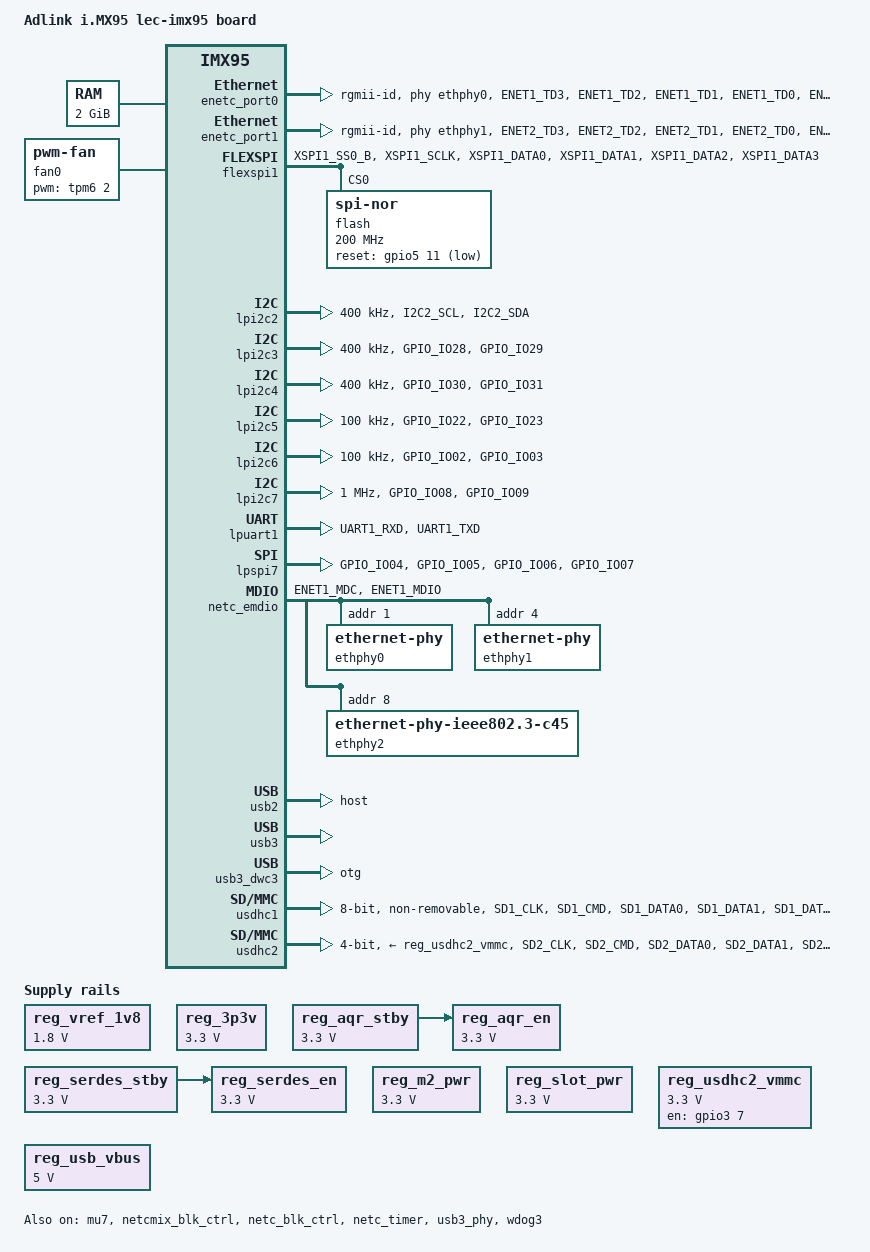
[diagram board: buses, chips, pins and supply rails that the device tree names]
// SPDX-License-Identifier: (GPL-2.0+ OR MIT)
/*
 * Copyright 2024 NXP
 */

/dts-v1/;

#include <dt-bindings/pwm/pwm.h>
#include <dt-bindings/usb/pd.h>
#include "../dts/upstream/src/arm64/freescale/imx95.dtsi"


#define FALLING_EDGE			1
#define RISING_EDGE			2

#define BRD_SM_CTRL_SD3_WAKE		0x8000	/* PCAL6408A-0 */
#define BRD_SM_CTRL_PCIE1_WAKE		0x8001	/* PCAL6408A-4 */
#define BRD_SM_CTRL_BT_WAKE		0x8002	/* PCAL6408A-5 */
#define BRD_SM_CTRL_PCIE2_WAKE		0x8003	/* PCAL6408A-6 */
#define BRD_SM_CTRL_BUTTON		0x8004	/* PCAL6408A-7 */

/ {
	model = "Adlink i.MX95 lec-imx95 board";
	compatible = "fsl,imx95-19x19-evk", "fsl,imx95", "adlink,lec-imx95";

	aliases {
		ethernet0 = &enetc_port0;
		gpio0 = &gpio1;
		gpio1 = &gpio2;
		gpio2 = &gpio3;
		gpio3 = &gpio4;
		gpio4 = &gpio5;
		i2c0 = &lpi2c1;
		i2c1 = &lpi2c2;
		i2c2 = &lpi2c3;
		i2c3 = &lpi2c4;
		i2c4 = &lpi2c5;
		i2c5 = &lpi2c6;
		i2c6 = &lpi2c7;
		i2c7 = &lpi2c8;
		mmc0 = &usdhc1;
		mmc1 = &usdhc2;
		serial0 = &lpuart1;
		serial4 = &lpuart5;
		ethernet1 = &enetc_port1;
                spi0 = &flexspi1;
                usb0 = &usb3_dwc3;
                usb1 = &usb2;
	};

	chosen {
		stdout-path = &lpuart1;
	};

	memory@80000000 {
		device_type = "memory";
		reg = <0x0 0x80000000 0 0x80000000>;
	};

	fan0: pwm-fan {
		compatible = "pwm-fan";
		#cooling-cells = <2>;
		pwms = <&tpm6 2 4000000 PWM_POLARITY_INVERTED>;
		cooling-levels = <64 128 192 255>;
	};

	reserved-memory {
		#address-cells = <2>;
		#size-cells = <2>;
		ranges;

		linux_cma: linux,cma {
			compatible = "shared-dma-pool";
			alloc-ranges = <0 0x80000000 0 0x7f000000>;
			size = <0 0x3c000000>;
			linux,cma-default;
			reusable;
		};
	};

	reg_vref_1v8: regulator-1p8v {
		compatible = "regulator-fixed";
		regulator-max-microvolt = <1800000>;
		regulator-min-microvolt = <1800000>;
		regulator-name = "+V1.8_SW";
	};

	reg_3p3v: regulator-3p3v {
		compatible = "regulator-fixed";
		regulator-max-microvolt = <3300000>;
		regulator-min-microvolt = <3300000>;
		regulator-name = "+V3.3_SW";
	};

	chosen {
		bootargs = "console=ttyLP0,115200 earlycon";
	};

	reg_aqr_stby: regulator-aqr-stby {
		compatible = "regulator-fixed";
		regulator-name = "aqr-stby";
		regulator-min-microvolt = <3300000>;
		regulator-max-microvolt = <3300000>;
		enable-active-high;
	};

	reg_aqr_en: regulator-aqr-en {
		compatible = "regulator-fixed";
		regulator-name = "aqr-en";
		regulator-min-microvolt = <3300000>;
		regulator-max-microvolt = <3300000>;
		vin-supply = <&reg_aqr_stby>;
		enable-active-high;
	};

	reg_serdes_stby: regulator-mac-stby {
		compatible = "regulator-fixed";
		regulator-name = "mac-stby";
		regulator-min-microvolt = <3300000>;
		regulator-max-microvolt = <3300000>;
		//gpio = <&i2c7_pcal6524 13 GPIO_ACTIVE_LOW>;
	};

	reg_serdes_en: regulator-mac-en {
		compatible = "regulator-fixed";
		regulator-name = "mac-en";
		regulator-min-microvolt = <3300000>;
		regulator-max-microvolt = <3300000>;
		vin-supply = <&reg_serdes_stby>;
//		gpio = <&i2c5_pcal6408 3 GPIO_ACTIVE_LOW>;
	};

	reg_m2_pwr: regulator-m2-pwr {
		compatible = "regulator-fixed";
		regulator-name = "M.2-power";
		regulator-min-microvolt = <3300000>;
		regulator-max-microvolt = <3300000>;
		enable-active-high;
		/*
		 * M.2 device only can be enabled(W_DISABLE1#) after all Power
		 * Rails reach their minimum operating voltage (PCI Express M.2
		 * Specification r5.1 3.1.4 Power-up Timing).
		 * Set a delay equal to the max value of Tsettle here.
		 */
		startup-delay-us = <5000>;
	};

	reg_slot_pwr: regulator-slot-pwr {
		compatible = "regulator-fixed";
		regulator-name = "PCIe slot-power";
		regulator-min-microvolt = <3300000>;
		regulator-max-microvolt = <3300000>;
		//gpio = <&i2c7_pcal6524 14 GPIO_ACTIVE_HIGH>;
		enable-active-high;
	};

	reg_usdhc2_vmmc: regulator-usdhc2 {
		compatible = "regulator-fixed";
		pinctrl-names = "default";
		pinctrl-0 = <&pinctrl_reg_usdhc2_vmmc>;
		regulator-name = "VDD_SD2_3V3";
		regulator-min-microvolt = <3300000>;
		regulator-max-microvolt = <3300000>;
		enable-active-high;
		gpio = <&gpio3 7 GPIO_ACTIVE_HIGH>;
		off-on-delay-us = <12000>;
	};

	reg_usb_vbus: regulator-vbus {
		compatible = "regulator-fixed";
		regulator-name = "USB_VBUS";
		regulator-min-microvolt = <5000000>;
		regulator-max-microvolt = <5000000>;
		enable-active-high;
	};

};

&enetc_port0 {
	pinctrl-names = "default";
	pinctrl-0 = <&pinctrl_enetc0>;
	phy-handle = <&ethphy0>;
	phy-mode = "rgmii-id";
	status = "okay";
};

&enetc_port1 {
 	pinctrl-names = "default";
 	pinctrl-0 = <&pinctrl_enetc1>;
 	phy-handle = <&ethphy1>;
 	phy-mode = "rgmii-id";
 	status = "okay";
};

&flexspi1 {
	pinctrl-names = "default";
	pinctrl-0 = <&pinctrl_flexspi1>;
	status = "okay";

	flash@0 {
		compatible = "jedec,spi-nor";
		reg = <0>;
		pinctrl-names = "default";
		pinctrl-0 = <&pinctrl_flexspi1_reset>;
		reset-gpios = <&gpio5 11 GPIO_ACTIVE_LOW>;
		#address-cells = <1>;
		#size-cells = <1>;
		spi-max-frequency = <200000000>;
		spi-tx-bus-width = <1>;
		spi-rx-bus-width = <1>;
	};
};

&lpi2c2 {
	clock-frequency = <400000>;
	pinctrl-names = "default";
	pinctrl-0 = <&pinctrl_lpi2c2>;
	status = "okay";
};

&lpi2c3 {
	clock-frequency = <400000>;
	pinctrl-names = "default";
	pinctrl-0 = <&pinctrl_lpi2c3>;
	status = "okay";
};

&lpi2c4 {
	clock-frequency = <400000>;
	pinctrl-names = "default";
	pinctrl-0 = <&pinctrl_lpi2c4>;
	status = "okay";

};

&lpi2c5 {
	clock-frequency = <100000>;
	pinctrl-names = "default";
	pinctrl-0 = <&pinctrl_lpi2c5>;
	status = "okay";

};

&lpi2c6 {
	clock-frequency = <100000>;
	pinctrl-names = "default";
	pinctrl-0 = <&pinctrl_lpi2c6>;
	status = "okay";
};

&lpi2c7 {
	clock-frequency = <1000000>;
	pinctrl-names = "default";
	pinctrl-0 = <&pinctrl_lpi2c7>;
	status = "okay";

};

&lpuart1 {
	/* console */
	pinctrl-names = "default";
	pinctrl-0 = <&pinctrl_uart1>;
	status = "okay";
};

&lpuart5 {
	pinctrl-names = "default";
	pinctrl-0 = <&pinctrl_uart5>;
	status = "disabled";
};

&lpspi7 {
	num-cs = <1>;
	pinctrl-names = "default";
	pinctrl-0 = <&pinctrl_lpspi7>;
	cs-gpios = <&gpio2 4 GPIO_ACTIVE_LOW>;
	status = "okay";
};

&mu7 {
	status = "okay";
};


&pcie0 {
    pinctrl-names = "default";
    pinctrl-0 = <&pinctrl_pcie0>;
    status = "disabled";
};

&enetc_port1 {
 	pinctrl-names = "default";
 	pinctrl-0 = <&pinctrl_enetc1>;
 	phy-handle = <&ethphy1>;
 	phy-mode = "rgmii-id";
 	status = "okay";
};

&netcmix_blk_ctrl {
	status = "okay";
};

&netc_blk_ctrl {
	status = "okay";
};

&netc_timer {
	status = "okay";
};


&netc_emdio {
	pinctrl-names = "default";
	pinctrl-0 = <&pinctrl_emdio>;
	status = "okay";

	ethphy0: ethernet-phy@1 {
		reg = <1>;
		eee-broken-1000t;
		reset-assert-us = <10000>;
		reset-deassert-us = <80000>;
	};

 	ethphy1: ethernet-phy@4 {
 		reg = <4>;
 		eee-broken-1000t;
 		reset-assert-us = <10000>;
 		reset-deassert-us = <80000>;
 	};

	ethphy2: ethernet-phy@8 {
		compatible = "ethernet-phy-ieee802.3-c45";
		reg = <8>;
	};
};

&usb2 {
	dr_mode = "host";
	disable-over-current;
	status = "okay";
};

&usb3 {
	status = "okay";
};

&usb3_dwc3 {
	dr_mode = "otg";
	hnp-disable;
	srp-disable;
	adp-disable;
	usb-role-switch;
	role-switch-default-mode = "peripheral";
	snps,dis-u1-entry-quirk;
	snps,dis-u2-entry-quirk;
	status = "okay";
};

&usb3_phy {
	fsl,phy-pcs-tx-deemph-3p5db-attenuation-db = <17>;
	fsl,phy-pcs-tx-swing-full-percent = <100>;
	fsl,phy-tx-preemp-amp-tune-microamp = <600>;
	fsl,phy-tx-vboost-level-microvolt = <1156>;
	fsl,phy-tx-vref-tune-percent = <100>;
	orientation-switch;
	status = "okay";
};

&usdhc1 {
	pinctrl-names = "default", "state_100mhz", "state_200mhz", "sleep";
	pinctrl-0 = <&pinctrl_usdhc1>;
	pinctrl-1 = <&pinctrl_usdhc1_100mhz>;
	pinctrl-2 = <&pinctrl_usdhc1_200mhz>;
	pinctrl-3 = <&pinctrl_usdhc1>;
	bus-width = <8>;
	non-removable;
	no-sdio;
	no-sd;
	status = "okay";
};

&usdhc2 {
	pinctrl-names = "default", "state_100mhz", "state_200mhz", "sleep";
	pinctrl-0 = <&pinctrl_usdhc2>, <&pinctrl_usdhc2_gpio>;
	pinctrl-1 = <&pinctrl_usdhc2_100mhz>, <&pinctrl_usdhc2_gpio>;
	pinctrl-2 = <&pinctrl_usdhc2_200mhz>, <&pinctrl_usdhc2_gpio>;
	pinctrl-3 = <&pinctrl_usdhc2>, <&pinctrl_usdhc2_gpio>;
	cd-gpios = <&gpio3 0 GPIO_ACTIVE_LOW>;
	vmmc-supply = <&reg_usdhc2_vmmc>;
	bus-width = <4>;
	status = "okay";
};

&scmi_misc {
	nxp,ctrl-ids = <BRD_SM_CTRL_SD3_WAKE	FALLING_EDGE
			BRD_SM_CTRL_PCIE1_WAKE	FALLING_EDGE
			BRD_SM_CTRL_BT_WAKE	FALLING_EDGE
			BRD_SM_CTRL_PCIE2_WAKE	FALLING_EDGE
			BRD_SM_CTRL_BUTTON	FALLING_EDGE>;
};

&wdog3 {
	fsl,ext-reset-output;
	status = "okay";
};

&scmi_iomuxc {
	pinctrl_emdio: emdiogrp {
		fsl,pins = <
			IMX95_PAD_ENET1_MDC__NETCMIX_TOP_NETC_MDC		0x50e
			IMX95_PAD_ENET1_MDIO__NETCMIX_TOP_NETC_MDIO		0x90e
		>;
	};

	pinctrl_enetc0: enetc0grp {
		fsl,pins = <
			IMX95_PAD_ENET1_TD3__NETCMIX_TOP_ETH0_RGMII_TD3		0x50e
			IMX95_PAD_ENET1_TD2__NETCMIX_TOP_ETH0_RGMII_TD2		0x50e
			IMX95_PAD_ENET1_TD1__NETCMIX_TOP_ETH0_RGMII_TD1		0x50e
			IMX95_PAD_ENET1_TD0__NETCMIX_TOP_ETH0_RGMII_TD0		0x50e
			IMX95_PAD_ENET1_TX_CTL__NETCMIX_TOP_ETH0_RGMII_TX_CTL	0x57e
			IMX95_PAD_ENET1_TXC__NETCMIX_TOP_ETH0_RGMII_TX_CLK	0x58e
			IMX95_PAD_ENET1_RX_CTL__NETCMIX_TOP_ETH0_RGMII_RX_CTL	0x57e
			IMX95_PAD_ENET1_RXC__NETCMIX_TOP_ETH0_RGMII_RX_CLK	0x58e
			IMX95_PAD_ENET1_RD0__NETCMIX_TOP_ETH0_RGMII_RD0		0x57e
			IMX95_PAD_ENET1_RD1__NETCMIX_TOP_ETH0_RGMII_RD1		0x57e
			IMX95_PAD_ENET1_RD2__NETCMIX_TOP_ETH0_RGMII_RD2		0x57e
			IMX95_PAD_ENET1_RD3__NETCMIX_TOP_ETH0_RGMII_RD3		0x57e
		>;
	};

	pinctrl_enetc1: enetc1grp {
		fsl,pins = <
			IMX95_PAD_ENET2_TD3__NETCMIX_TOP_ETH1_RGMII_TD3		0x57e
			IMX95_PAD_ENET2_TD2__NETCMIX_TOP_ETH1_RGMII_TD2		0x57e
			IMX95_PAD_ENET2_TD1__NETCMIX_TOP_ETH1_RGMII_TD1		0x57e
			IMX95_PAD_ENET2_TD0__NETCMIX_TOP_ETH1_RGMII_TD0		0x57e
			IMX95_PAD_ENET2_TX_CTL__NETCMIX_TOP_ETH1_RGMII_TX_CTL	0x57e
			IMX95_PAD_ENET2_TXC__NETCMIX_TOP_ETH1_RGMII_TX_CLK	0x5fe
			IMX95_PAD_ENET2_RX_CTL__NETCMIX_TOP_ETH1_RGMII_RX_CTL	0x57e
			IMX95_PAD_ENET2_RXC__NETCMIX_TOP_ETH1_RGMII_RX_CLK	0x5fe
			IMX95_PAD_ENET2_RD0__NETCMIX_TOP_ETH1_RGMII_RD0		0x57e
			IMX95_PAD_ENET2_RD1__NETCMIX_TOP_ETH1_RGMII_RD1		0x57e
			IMX95_PAD_ENET2_RD2__NETCMIX_TOP_ETH1_RGMII_RD2		0x57e
			IMX95_PAD_ENET2_RD3__NETCMIX_TOP_ETH1_RGMII_RD3		0x57e
		>;
	};

	pinctrl_flexcan1: flexcan1grp {
		fsl,pins = <
			IMX95_PAD_PDM_CLK__AONMIX_TOP_CAN1_TX			0x39e
			IMX95_PAD_PDM_BIT_STREAM0__AONMIX_TOP_CAN1_RX		0x39e
		>;
	};

	pinctrl_flexcan2: flexcan2grp {
		fsl,pins = <
			IMX95_PAD_GPIO_IO25__CAN2_TX				0x39e
			IMX95_PAD_GPIO_IO27__CAN2_RX				0x39e
		>;
	};

	pinctrl_flexspi1: flexspi1grp {
		fsl,pins = <
			IMX95_PAD_XSPI1_SS0_B__FLEXSPI1_A_SS0_B			0x3fe
			//IMX95_PAD_XSPI1_SS1_B__GPIO5_IO_BIT11			0x3fe
			IMX95_PAD_XSPI1_SCLK__FLEXSPI1_A_SCLK			0x3fe
			//IMX95_PAD_XSPI1_DQS__FLEXSPI1_A_DQS			0x3fe
			IMX95_PAD_XSPI1_DATA0__FLEXSPI1_A_DATA_BIT0		0x3fe
			IMX95_PAD_XSPI1_DATA1__FLEXSPI1_A_DATA_BIT1		0x3fe
			IMX95_PAD_XSPI1_DATA2__FLEXSPI1_A_DATA_BIT2		0x3fe
			IMX95_PAD_XSPI1_DATA3__FLEXSPI1_A_DATA_BIT3		0x3fe
			//IMX95_PAD_XSPI1_DATA4__FLEXSPI1_A_DATA_BIT4		0x3fe
			//IMX95_PAD_XSPI1_DATA5__FLEXSPI1_A_DATA_BIT5		0x3fe
			//IMX95_PAD_XSPI1_DATA6__FLEXSPI1_A_DATA_BIT6		0x3fe
			//IMX95_PAD_XSPI1_DATA7__FLEXSPI1_A_DATA_BIT7		0x3fe
		>;
	};

	pinctrl_flexspi1_reset: flexspi1-reset-grp {
		fsl,pins = <
			IMX95_PAD_XSPI1_SS1_B__GPIO5_IO_BIT11			0x3fe
		>;
	};

	pinctrl_hp: hpgrp {
		fsl,pins = <
			IMX95_PAD_GPIO_IO11__GPIO2_IO_BIT11		0x31e
		>;
	};

	pinctrl_i2c4_pcal6408: i2c4pcal6498grp {
		fsl,pins = <
			IMX95_PAD_GPIO_IO18__GPIO2_IO_BIT18			0x31e
		>;
	};

	pinctrl_i2c7_pcal6524: i2c7pcal6524grp {
		fsl,pins = <
			IMX95_PAD_GPIO_IO36__GPIO5_IO_BIT16			0x31e
		>;
	};

	pinctrl_lpi2c1: lpi2c1grp {
		fsl,pins = <
			IMX95_PAD_I2C1_SCL__AONMIX_TOP_LPI2C1_SCL		0x40000b9e
			IMX95_PAD_I2C1_SDA__AONMIX_TOP_LPI2C1_SDA		0x40000b9e
		>;
	};

	pinctrl_lpi2c2: lpi2c2grp {
		fsl,pins = <
			IMX95_PAD_I2C2_SCL__AONMIX_TOP_LPI2C2_SCL		0x40000b9e
			IMX95_PAD_I2C2_SDA__AONMIX_TOP_LPI2C2_SDA		0x40000b9e
		>;
	};

	pinctrl_lpi2c3: lpi2c3grp {
		fsl,pins = <
			IMX95_PAD_GPIO_IO28__LPI2C3_SDA			0x40000b9e
			IMX95_PAD_GPIO_IO29__LPI2C3_SCL			0x40000b9e
		>;
	};

	pinctrl_lpi2c4: lpi2c4grp {
		fsl,pins = <
			IMX95_PAD_GPIO_IO30__LPI2C4_SDA			0x40000b9e
			IMX95_PAD_GPIO_IO31__LPI2C4_SCL			0x40000b9e
		>;
	};

	pinctrl_lpi2c5: lpi2c5grp {
		fsl,pins = <
			IMX95_PAD_GPIO_IO22__LPI2C5_SDA			0x40000b9e
			IMX95_PAD_GPIO_IO23__LPI2C5_SCL			0x40000b9e
		>;
	};

	pinctrl_lpi2c6: lpi2c6grp {
		fsl,pins = <
			IMX95_PAD_GPIO_IO02__LPI2C6_SDA			0x40000b9e
			IMX95_PAD_GPIO_IO03__LPI2C6_SCL			0x40000b9e
		>;
	};

	pinctrl_lpi2c7: lpi2c7grp {
		fsl,pins = <
			IMX95_PAD_GPIO_IO08__LPI2C7_SDA			0x40000b9e
			IMX95_PAD_GPIO_IO09__LPI2C7_SCL			0x40000b9e
		>;
	};

	pinctrl_lpspi7: lpspi7grp {
		fsl,pins = <
			IMX95_PAD_GPIO_IO04__GPIO2_IO_BIT4		0x3fe
			IMX95_PAD_GPIO_IO05__LPSPI7_SIN			0x3fe
			IMX95_PAD_GPIO_IO06__LPSPI7_SOUT		0x3fe
			IMX95_PAD_GPIO_IO07__LPSPI7_SCK			0x3fe
		>;
	};

	pinctrl_pcie0: pcie0grp {
		fsl,pins = <
			IMX95_PAD_GPIO_IO32__HSIOMIX_TOP_PCIE1_CLKREQ_B		0x4000031e
		>;
	};

	pinctrl_pcie1: pcie1grp {
		fsl,pins = <
			IMX95_PAD_GPIO_IO35__HSIOMIX_TOP_PCIE2_CLKREQ_B		0x4000031e
		>;
	};

	pinctrl_pcal6416: pcal6416grp {
		fsl,pins = <
			IMX95_PAD_CCM_CLKO3__GPIO4_IO_BIT28			0x31e
		>;
	};

	pinctrl_pdm: pdmgrp {
		fsl,pins = <
			IMX95_PAD_PDM_CLK__AONMIX_TOP_PDM_CLK				0x31e
			IMX95_PAD_PDM_BIT_STREAM0__AONMIX_TOP_PDM_BIT_STREAM_BIT0	0x31e
		>;
	};

	pinctrl_sai1: sai1grp {
		fsl,pins = <
			IMX95_PAD_SAI1_RXD0__AONMIX_TOP_SAI1_RX_DATA_BIT0    0x31e
			IMX95_PAD_SAI1_TXC__AONMIX_TOP_SAI1_TX_BCLK      0x31e
			IMX95_PAD_SAI1_TXFS__AONMIX_TOP_SAI1_TX_SYNC     0x31e
			IMX95_PAD_SAI1_TXD0__AONMIX_TOP_SAI1_TX_DATA_BIT0    0x31e
		>;
	};

	pinctrl_sai2: sai2grp {
		fsl,pins = <
			IMX95_PAD_ENET2_MDIO__NETCMIX_TOP_SAI2_RX_BCLK			0x31e
			IMX95_PAD_ENET2_MDC__NETCMIX_TOP_SAI2_RX_SYNC			0x31e
			IMX95_PAD_ENET2_TD3__NETCMIX_TOP_SAI2_RX_DATA_BIT0		0x31e
			IMX95_PAD_ENET2_TD2__NETCMIX_TOP_SAI2_RX_DATA_BIT1		0x31e
			IMX95_PAD_ENET2_TXC__NETCMIX_TOP_SAI2_TX_BCLK			0x31e
			IMX95_PAD_ENET2_TX_CTL__NETCMIX_TOP_SAI2_TX_SYNC		0x31e
			IMX95_PAD_ENET2_RX_CTL__NETCMIX_TOP_SAI2_TX_DATA_BIT0		0x31e
			IMX95_PAD_ENET2_RXC__NETCMIX_TOP_SAI2_TX_DATA_BIT1		0x31e
			IMX95_PAD_ENET2_RD0__NETCMIX_TOP_SAI2_TX_DATA_BIT2		0x31e
			IMX95_PAD_ENET2_RD1__NETCMIX_TOP_SAI2_TX_DATA_BIT3		0x31e
			IMX95_PAD_ENET2_RD2__NETCMIX_TOP_SAI2_MCLK			0x31e
		>;
	};

	pinctrl_sai3: sai3grp {
		fsl,pins = <
			IMX95_PAD_GPIO_IO17__SAI3_MCLK				0x31e
			IMX95_PAD_GPIO_IO16__SAI3_TX_BCLK			0x31e
			IMX95_PAD_GPIO_IO26__SAI3_TX_SYNC			0x31e
			IMX95_PAD_GPIO_IO20__SAI3_RX_DATA_BIT0			0x31e
			IMX95_PAD_GPIO_IO21__SAI3_TX_DATA_BIT0			0x31e
		>;
	};

	pinctrl_tpm3: tpm3grp {
		fsl,pins = <
			IMX95_PAD_GPIO_IO12__TPM3_CH2			0x51e
		>;
	};

	pinctrl_tpm6: tpm6grp {
		fsl,pins = <
			IMX95_PAD_GPIO_IO19__TPM6_CH2			0x51e
		>;
	};

	pinctrl_uart1: uart1grp {
		fsl,pins = <
			IMX95_PAD_UART1_RXD__AONMIX_TOP_LPUART1_RX      0x31e
			IMX95_PAD_UART1_TXD__AONMIX_TOP_LPUART1_TX      0x31e
		>;
	};

	pinctrl_uart5: uart5grp {
		fsl,pins = <
			IMX95_PAD_DAP_TDO_TRACESWO__LPUART5_TX		0x31e
			IMX95_PAD_DAP_TDI__LPUART5_RX			0x31e
			IMX95_PAD_DAP_TMS_SWDIO__LPUART5_RTS_B		0x31e
			IMX95_PAD_DAP_TCLK_SWCLK__LPUART5_CTS_B		0x31e
		>;
	};

	pinctrl_usdhc1: usdhc1grp {
		fsl,pins = <
			IMX95_PAD_SD1_CLK__USDHC1_CLK			0x158e
			IMX95_PAD_SD1_CMD__USDHC1_CMD			0x138e
			IMX95_PAD_SD1_DATA0__USDHC1_DATA0		0x138e
			IMX95_PAD_SD1_DATA1__USDHC1_DATA1		0x138e
			IMX95_PAD_SD1_DATA2__USDHC1_DATA2		0x138e
			IMX95_PAD_SD1_DATA3__USDHC1_DATA3		0x138e
			IMX95_PAD_SD1_DATA4__USDHC1_DATA4		0x138e
			IMX95_PAD_SD1_DATA5__USDHC1_DATA5		0x138e
			IMX95_PAD_SD1_DATA6__USDHC1_DATA6		0x138e
			IMX95_PAD_SD1_DATA7__USDHC1_DATA7		0x138e
			IMX95_PAD_SD1_STROBE__USDHC1_STROBE		0x158e
		>;
	};

	pinctrl_usdhc1_100mhz: usdhc1-100mhzgrp {
		fsl,pins = <
			IMX95_PAD_SD1_CLK__USDHC1_CLK			0x158e
			IMX95_PAD_SD1_CMD__USDHC1_CMD			0x138e
			IMX95_PAD_SD1_DATA0__USDHC1_DATA0		0x138e
			IMX95_PAD_SD1_DATA1__USDHC1_DATA1		0x138e
			IMX95_PAD_SD1_DATA2__USDHC1_DATA2		0x138e
			IMX95_PAD_SD1_DATA3__USDHC1_DATA3		0x138e
			IMX95_PAD_SD1_DATA4__USDHC1_DATA4		0x138e
			IMX95_PAD_SD1_DATA5__USDHC1_DATA5		0x138e
			IMX95_PAD_SD1_DATA6__USDHC1_DATA6		0x138e
			IMX95_PAD_SD1_DATA7__USDHC1_DATA7		0x138e
			IMX95_PAD_SD1_STROBE__USDHC1_STROBE		0x158e
		>;
	};

	pinctrl_usdhc1_200mhz: usdhc1-200mhzgrp {
		fsl,pins = <
			IMX95_PAD_SD1_CLK__USDHC1_CLK			0x15fe
			IMX95_PAD_SD1_CMD__USDHC1_CMD			0x13fe
			IMX95_PAD_SD1_DATA0__USDHC1_DATA0		0x13fe
			IMX95_PAD_SD1_DATA1__USDHC1_DATA1		0x13fe
			IMX95_PAD_SD1_DATA2__USDHC1_DATA2		0x13fe
			IMX95_PAD_SD1_DATA3__USDHC1_DATA3		0x13fe
			IMX95_PAD_SD1_DATA4__USDHC1_DATA4		0x13fe
			IMX95_PAD_SD1_DATA5__USDHC1_DATA5		0x13fe
			IMX95_PAD_SD1_DATA6__USDHC1_DATA6		0x13fe
			IMX95_PAD_SD1_DATA7__USDHC1_DATA7		0x13fe
			IMX95_PAD_SD1_STROBE__USDHC1_STROBE		0x15fe
		>;
	};

	pinctrl_reg_usdhc2_vmmc: regusdhc2vmmcgrp {
		fsl,pins = <
			IMX95_PAD_SD2_RESET_B__GPIO3_IO_BIT7		0x31e
		>;
	};

	pinctrl_typec: typecgrp {
		fsl,pins = <
			IMX95_PAD_GPIO_IO34__GPIO5_IO_BIT14			0x31e
		>;
	};

	pinctrl_usdhc2_gpio: usdhc2gpiogrp {
		fsl,pins = <
			IMX95_PAD_SD2_CD_B__GPIO3_IO_BIT0		0x31e
		>;
	};

	pinctrl_usdhc2: usdhc2grp {
		fsl,pins = <
			IMX95_PAD_SD2_CLK__USDHC2_CLK			0x158e
			IMX95_PAD_SD2_CMD__USDHC2_CMD			0x138e
			IMX95_PAD_SD2_DATA0__USDHC2_DATA0		0x138e
			IMX95_PAD_SD2_DATA1__USDHC2_DATA1		0x138e
			IMX95_PAD_SD2_DATA2__USDHC2_DATA2		0x138e
			IMX95_PAD_SD2_DATA3__USDHC2_DATA3		0x138e
			IMX95_PAD_SD2_VSELECT__USDHC2_VSELECT		0x51e
		>;
	};

	pinctrl_usdhc2_100mhz: usdhc2-100mhzgrp {
		fsl,pins = <
			IMX95_PAD_SD2_CLK__USDHC2_CLK			0x158e
			IMX95_PAD_SD2_CMD__USDHC2_CMD			0x138e
			IMX95_PAD_SD2_DATA0__USDHC2_DATA0		0x138e
			IMX95_PAD_SD2_DATA1__USDHC2_DATA1		0x138e
			IMX95_PAD_SD2_DATA2__USDHC2_DATA2		0x138e
			IMX95_PAD_SD2_DATA3__USDHC2_DATA3		0x138e
			IMX95_PAD_SD2_VSELECT__USDHC2_VSELECT		0x51e
		>;
	};

	pinctrl_usdhc2_200mhz: usdhc2-200mhzgrp {
		fsl,pins = <
			IMX95_PAD_SD2_CLK__USDHC2_CLK			0x158e
			IMX95_PAD_SD2_CMD__USDHC2_CMD			0x138e
			IMX95_PAD_SD2_DATA0__USDHC2_DATA0		0x138e
			IMX95_PAD_SD2_DATA1__USDHC2_DATA1		0x138e
			IMX95_PAD_SD2_DATA2__USDHC2_DATA2		0x138e
			IMX95_PAD_SD2_DATA3__USDHC2_DATA3		0x138e
			IMX95_PAD_SD2_VSELECT__USDHC2_VSELECT		0x51e
		>;
	};
};

#include "lec-imx95-u-boot.dtsi"
